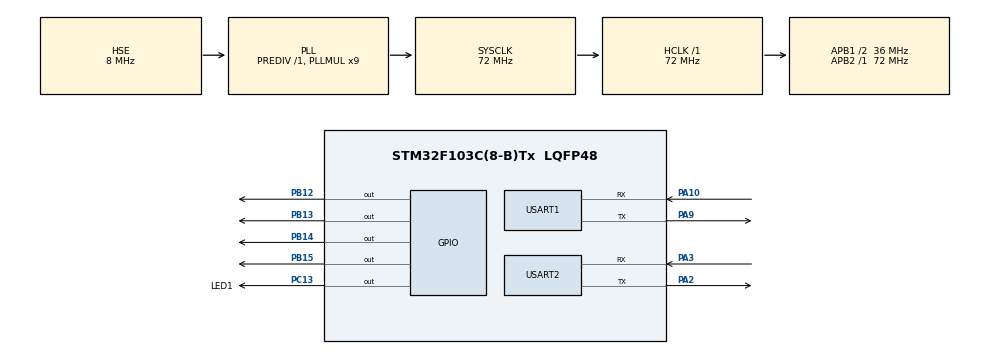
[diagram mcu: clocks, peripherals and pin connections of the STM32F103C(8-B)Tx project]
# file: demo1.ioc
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Mcu.Family=STM32F1
Mcu.Name=STM32F103C(8-B)Tx
Mcu.Package=LQFP48
NVIC.PriorityGroup=NVIC_PRIORITYGROUP_4
NVIC.USART1_IRQn=true\:0\:0\:false\:false\:true\:true\:true
NVIC.USART2_IRQn=true\:0\:0\:false\:false\:true\:true\:true
PA10.Mode=Asynchronous
PA10.Signal=USART1_RX
PA13.Mode=Serial_Wire
PA13.Signal=SYS_JTMS-SWDIO
PA14.Mode=Serial_Wire
PA14.Signal=SYS_JTCK-SWCLK
PA2.Mode=Asynchronous
PA2.Signal=USART2_TX
PA3.Mode=Asynchronous
PA3.Signal=USART2_RX
PA9.Mode=Asynchronous
PA9.Signal=USART1_TX
PB12.Signal=GPIO_Output
PB13.Signal=GPIO_Output
PB14.Signal=GPIO_Output
PB15.Signal=GPIO_Output
PC13-TAMPER-RTC.GPIO_Label=LED1
PC13-TAMPER-RTC.Signal=GPIO_Output
PC14-OSC32_IN.Mode=LSE-External-Oscillator
PC14-OSC32_IN.Signal=RCC_OSC32_IN
PC15-OSC32_OUT.Mode=LSE-External-Oscillator
PC15-OSC32_OUT.Signal=RCC_OSC32_OUT
PD0-OSC_IN.Mode=HSE-External-Oscillator
PD0-OSC_IN.Signal=RCC_OSC_IN
PD1-OSC_OUT.Mode=HSE-External-Oscillator
PD1-OSC_OUT.Signal=RCC_OSC_OUT
ProjectManager.HeapSize=0x200
ProjectManager.StackSize=0x400
ProjectManager.TargetToolchain=MDK-ARM V5
RCC.AHBFreq_Value=72000000
RCC.APB1CLKDivider=RCC_HCLK_DIV2
RCC.APB1Freq_Value=36000000
RCC.APB1TimFreq_Value=72000000
RCC.APB2Freq_Value=72000000
RCC.APB2TimFreq_Value=72000000
RCC.HCLKFreq_Value=72000000
RCC.PLLMUL=RCC_PLL_MUL9
RCC.PLLSourceVirtual=RCC_PLLSOURCE_HSE
RCC.SYSCLKFreq_VALUE=72000000
RCC.SYSCLKSource=RCC_SYSCLKSOURCE_PLLCLK
RCC.TimSys_Div=SYSTICK_CLKSOURCE_HCLK_DIV8
RCC.USBFreq_Value=72000000
USART1.VirtualMode=VM_ASYNC
USART2.VirtualMode=VM_ASYNC
board=custom

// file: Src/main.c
/* USER CODE BEGIN Header */
/**
  ******************************************************************************
  * @file           : main.c
  * @brief          : Main program body
  ******************************************************************************
  * @attention
  *
  * <h2><center>&copy; Copyright (c) 2020 STMicroelectronics.
  * All rights reserved.</center></h2>
  *
  * This software component is licensed by ST under BSD 3-Clause license,
  * the "License"; You may not use this file except in compliance with the
  * License. You may obtain a copy of the License at:
  *                        opensource.org/licenses/BSD-3-Clause
  *
  ******************************************************************************
  */
/* USER CODE END Header */

#include "main.h"
#include "usart.h"
#include "gpio.h"

/* USER CODE BEGIN Includes */
#include "oled.h"
/* USER CODE END Includes */

/* USER CODE BEGIN PTD */
uint8_t LED_HELLO[]="HELLO\r\n";
uint8_t buffdata[1];
/* USER CODE END PTD */

/* USER CODE BEGIN PD */
#define LED1_Close() HAL_GPIO_WritePin(LED1_GPIO_Port,LED1_Pin,GPIO_PIN_SET);
#define LED1_Open() HAL_GPIO_WritePin(LED1_GPIO_Port,LED1_Pin,GPIO_PIN_RESET);
extern unsigned char BMP1[];
/* USER CODE END PD */

/* USER CODE BEGIN PM */
/****************加载图片****************/
void OLED_BMP()
{
	OLED_Clear(); 							//清除显示器
	OLED_DrawBMP(0,0,128,8,BMP1);	//x为0 y为0  横128个像素   竖 8 个像素            OLED12864
}
/****************加载字符****************/
void OLED_String()
{
	OLED_Clear();
	OLED_ShowString(10,0,(uint8_t *)"xiaotangstudio");
	OLED_ShowCHinese(27,3,0);
	HAL_Delay(500);
	OLED_ShowCHinese(42,3,1);
	HAL_Delay(500);
	OLED_ShowCHinese(57,3,2);
	HAL_Delay(500);
	OLED_ShowCHinese(72,3,3);
	HAL_Delay(500);
	OLED_ShowCHinese(87,3,4);
	OLED_ShowString(30,6,(uint8_t *)"2020-6-21");
}
/* USER CODE END PM */

void SystemClock_Config(void);

int main(void)
{

  /* MCU Configuration--------------------------------------------------------*/

  /* Reset of all peripherals, Initializes the Flash interface and the Systick. */
  HAL_Init();

  /* Configure the system clock */
  SystemClock_Config();

  /* Initialize all configured peripherals */
  MX_GPIO_Init();
  MX_USART1_UART_Init();
  MX_USART2_UART_Init();
  /* USER CODE BEGIN 2 */

	OLED_Init(); //初始化OLED

	OLED_BMP();		//加载图|片

	HAL_Delay(500);

	OLED_String();	//显示文字

		LED1_Open();
		HAL_UART_Transmit(&huart1,LED_HELLO,sizeof(LED_HELLO),2000);
		LED1_Close();
		HAL_UART_Receive_IT(&huart1,buffdata,1);
  /* USER CODE END 2 */

  /* Infinite loop */
  /* USER CODE BEGIN WHILE */
  while (1)
  {
	/*		LED1_Open();
		HAL_UART_Transmit(&huart1,(uint8_t *)"JK",2,2000);
		LED1_Close();
		HAL_Delay(200);*/
    /* USER CODE END WHILE */

  }
}

void SystemClock_Config(void)
{
  RCC_OscInitTypeDef RCC_OscInitStruct = {0};
  RCC_ClkInitTypeDef RCC_ClkInitStruct = {0};

  /** Initializes the CPU, AHB and APB busses clocks
  */
  RCC_OscInitStruct.OscillatorType = RCC_OSCILLATORTYPE_HSE;
  RCC_OscInitStruct.HSEState = RCC_HSE_ON;
  RCC_OscInitStruct.HSEPredivValue = RCC_HSE_PREDIV_DIV1;
  RCC_OscInitStruct.HSIState = RCC_HSI_ON;
  RCC_OscInitStruct.PLL.PLLState = RCC_PLL_ON;
  RCC_OscInitStruct.PLL.PLLSource = RCC_PLLSOURCE_HSE;
  RCC_OscInitStruct.PLL.PLLMUL = RCC_PLL_MUL9;
  if (HAL_RCC_OscConfig(&RCC_OscInitStruct) != HAL_OK)
  {
    Error_Handler();
  }
  /** Initializes the CPU, AHB and APB busses clocks
  */
  RCC_ClkInitStruct.ClockType = RCC_CLOCKTYPE_HCLK|RCC_CLOCKTYPE_SYSCLK
                              |RCC_CLOCKTYPE_PCLK1|RCC_CLOCKTYPE_PCLK2;
  RCC_ClkInitStruct.SYSCLKSource = RCC_SYSCLKSOURCE_PLLCLK;
  RCC_ClkInitStruct.AHBCLKDivider = RCC_SYSCLK_DIV1;
  RCC_ClkInitStruct.APB1CLKDivider = RCC_HCLK_DIV2;
  RCC_ClkInitStruct.APB2CLKDivider = RCC_HCLK_DIV1;

  if (HAL_RCC_ClockConfig(&RCC_ClkInitStruct, FLASH_LATENCY_2) != HAL_OK)
  {
    Error_Handler();
  }
}

/* USER CODE BEGIN 4 */
void HAL_UART_RxCpltCallback(UART_HandleTypeDef *huart)
{
	if(huart->Instance == USART1)
	{
		switch(buffdata[0])
		{
			case 0x01:
				LED1_Open();

				HAL_UART_Transmit(&huart1,LED_HELLO,sizeof(LED_HELLO),2000);
				break;
			case 0x02:
				LED1_Close();
				HAL_UART_Transmit(&huart1,LED_HELLO,sizeof(LED_HELLO),2000);
				break;
		}

		HAL_UART_Receive_IT(&huart1,buffdata,1);
	}

}
/* USER CODE END 4 */

void Error_Handler(void)
{
}

/************************ (C) COPYRIGHT STMicroelectronics *****END OF FILE****/
